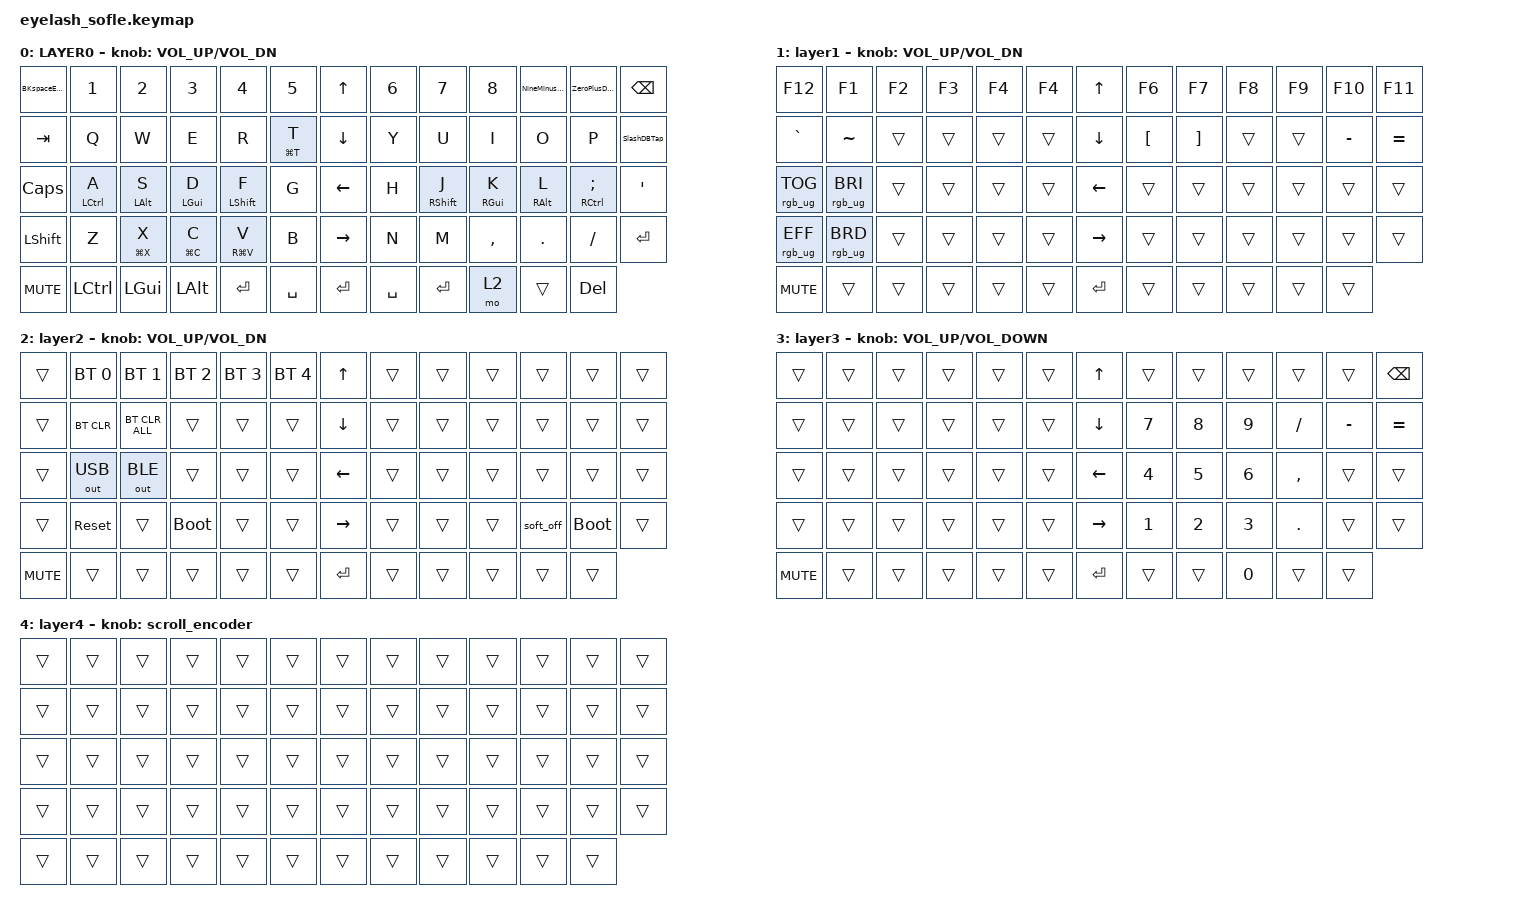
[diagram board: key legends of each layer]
#define ZMK_POINTING_DEFAULT_MOVE_VAL 1200  // 600
#define ZMK_POINTING_DEFAULT_SCRL_VAL 25   // 10

#include <input/processors.dtsi>
#include <zephyr/dt-bindings/input/input-event-codes.h>
#include <behaviors.dtsi>
#include <dt-bindings/zmk/bt.h>
#include <dt-bindings/zmk/keys.h>
#include <dt-bindings/zmk/outputs.h>
#include <dt-bindings/zmk/pointing.h>
#include <dt-bindings/zmk/rgb.h>

&mmv_input_listener { input-processors = <&zip_xy_scaler 2 1>; };

&msc_input_listener { input-processors = <&zip_scroll_scaler 2 1>; };

&msc {
    acceleration-exponent = <1>;      // 0
    time-to-max-speed-ms = <100>;       // 300
    delay-ms = <0>;                   // 0
};

&mmv {
    time-to-max-speed-ms = <500>;
    acceleration-exponent = <1>;
    trigger-period-ms = <16>;
};

&soft_off { hold-time-ms = <2000>; };

/ {
    scroll_encoder: scroll_encoder {
        compatible = "zmk,behavior-sensor-rotate";
        #sensor-binding-cells = <0>;
        bindings = <&msc SCRL_DOWN>, <&msc SCRL_UP>;

        tap-ms = <100>;
    };

    longPress: longPress {
        compatible = "zmk,behavior-hold-tap";
        label = "LONGPRESS";
        bindings = <&kp>, <&kp>;

        #binding-cells = <2>;
        tapping-term-ms = <350>;
        flavor = "tap-preferred";
    };

    HMShiftR: HMShiftR {
        compatible = "zmk,behavior-hold-tap";
        label = "HMSHIFTR";
        bindings = <&kp>, <&kp>;

        #binding-cells = <2>;
        tapping-term-ms = <200>;
        hold-while-undecided;
        hold-trigger-key-positions = <56 57 44 31 18 5 4 17 30 55 43 54 53 40 39 41 42 29 28 27 26 13 14 1 0 2 3 16 15>;
        hold-trigger-on-release;
    };

    HMShiftL: HMShiftL {
        compatible = "zmk,behavior-hold-tap";
        label = "HMSHIFTL";
        bindings = <&kp>, <&kp>;

        #binding-cells = <2>;
        tapping-term-ms = <200>;
        hold-while-undecided;
        hold-trigger-on-release;
        hold-trigger-key-positions = <8 9 10 10 11 12 23 24 25 36 37 38 49 50 51 7 8 9 10 20 21 22 23 33 34 35 36 46 47 48 49 60 61 62 63 59>;
    };

    HMR: HMR {
        compatible = "zmk,behavior-hold-tap";
        label = "HMR";
        bindings = <&kp>, <&kp>;

        #binding-cells = <2>;
        tapping-term-ms = <200>;
        hold-while-undecided;
        hold-trigger-key-positions = <56 57 44 31 18 5 4 17 30 55 43 54 53 40 39 41 42 29 28 27 26 13 14 1 0 2 3 16 15>;
        hold-trigger-on-release;
        flavor = "tap-preferred";
    };

    HMLmulti: HMLmulti {
        compatible = "zmk,behavior-hold-tap";
        label = "HMLMULTI";
        bindings = <&kp>, <&kp>;

        #binding-cells = <2>;
        tapping-term-ms = <200>;
        hold-trigger-on-release;
        hold-trigger-key-positions = <8 9 10 10 11 12 23 24 25 36 37 38 49 50 51 7 8 9 10 20 21 22 23 33 34 35 36 46 47 48 49 60 61 62 63 59>;
        flavor = "tap-preferred";
        require-prior-idle-ms = <125>;
    };

    SlashDBTap: SlashDBTap {
        compatible = "zmk,behavior-tap-dance";
        label = "SLASHDBTAP";
        #binding-cells = <0>;
        bindings = <&kp BACKSLASH>, <&kp SLASH>;

        tapping-term-ms = <200>;
    };

    HMRmulti: HMRmulti {
        compatible = "zmk,behavior-hold-tap";
        label = "HMRMULTI";
        bindings = <&kp>, <&kp>;

        #binding-cells = <2>;
        tapping-term-ms = <200>;
        hold-trigger-on-release;
        flavor = "tap-preferred";
        require-prior-idle-ms = <125>;
        hold-trigger-key-positions = <0 1 2 3 4 5 13 14 15 16 17 18 26 27 28 29 30 31 39 40 41 42 43 44 52 53 54 55 56 57>;
    };

    NineMinusDBTap: NineMinusDBTap {
        compatible = "zmk,behavior-tap-dance";
        label = "NINEMINUSDBTAP";
        #binding-cells = <0>;
        bindings = <&kp N9>, <&kp MINUS>;

        tapping-term-ms = <200>;
    };

    BKspaceESCDBTap: BKspaceESCDBTap {
        compatible = "zmk,behavior-tap-dance";
        label = "BKSPACEESCDBTAP";
        #binding-cells = <0>;
        bindings = <&kp BACKSPACE>, <&kp ESC>;

        tapping-term-ms = <200>;
    };

    ZeroPlusDBTap: ZeroPlusDBTap {
        compatible = "zmk,behavior-tap-dance";
        label = "ZEROPLUSDBTAP";
        #binding-cells = <0>;
        bindings = <&kp N0>, <&kp EQUAL>;

        tapping-term-ms = <200>;
    };

    behaviors {
    };

    combos {
        compatible = "zmk,combos";

        softoff {
            bindings = <&soft_off>;
            key-positions = <14 28 40>;
        };

        Layer1 {
            bindings = <&tog 1>;
            key-positions = <31 17>;
            layers = <0 1>;
        };

        Layer3 {
            bindings = <&tog 3>;
            key-positions = <30 31>;
            layers = <0 3>;
        };

        Layer3- {
            bindings = <&tog 3>;
            key-positions = <33 34>;
            layers = <0 3>;
        };
    };

    macros {
        SHIFT_MCLK: SHIFT_MCLK {
            compatible = "zmk,behavior-macro";
            #binding-cells = <0>;
            bindings =
                <&macro_press>,
                <&kp LEFT_SHIFT>,
                <&macro_press>,
                <&mkp MB3>,
                <&macro_pause_for_release>,
                <&macro_release>,
                <&kp LEFT_SHIFT &mkp MB3>;

            label = "SHIFT_MCLK";
        };
    };

    keymap {
        compatible = "zmk,keymap";

        layer0 {
            bindings = <
&BKspaceESCDBTap  &kp N1             &kp N2                &kp N3                &kp N4                  &kp N5                &kp UP_ARROW     &kp N6     &kp N7                   &kp N8                 &NineMinusDBTap        &ZeroPlusDBTap        &kp BACKSPACE
&kp TAB           &kp Q              &kp W                 &kp E                 &kp R                   &longPress LG(T) T    &kp DOWN_ARROW   &kp Y      &kp U                    &kp I                  &kp O                  &kp P                 &SlashDBTap
&kp CAPSLOCK      &HMLmulti LCTRL A  &HMLmulti LEFT_ALT S  &HMLmulti LEFT_GUI D  &HMShiftL LEFT_SHIFT F  &kp G                 &kp LEFT_ARROW   &kp H      &HMShiftR RIGHT_SHIFT J  &HMRmulti RIGHT_GUI K  &HMRmulti RIGHT_ALT L  &HMLmulti RCTRL SEMI  &kp APOS
&kp LSHFT         &kp Z              &longPress LG(X) X    &longPress LG(C) C    &longPress RG(V) V      &kp B                 &kp RIGHT_ARROW  &kp N      &kp M                    &kp COMMA              &kp DOT                &kp FSLH              &kp ENTER
&kp C_MUTE        &kp LCTRL          &kp LEFT_GUI          &kp LALT              &kp RET                 &kp SPACE             &kp ENTER        &kp SPACE  &kp RET                  &mo 2                  &trans                 &kp DELETE
            >;

            sensor-bindings = <&inc_dec_kp C_VOLUME_UP C_VOL_DN>;
            display-name = "LAYER0";
        };

        layer_1 {
            bindings = <
&kp F12          &kp F1           &kp F2  &kp F3  &kp F4  &kp F4    &kp UP_ARROW     &kp F6    &kp F7    &kp F8  &kp F9  &kp F10    &kp F11
&kp GRAVE        &kp TILDE        &trans  &trans  &trans  &trans    &kp DOWN_ARROW   &kp LBKT  &kp RBKT  &trans  &trans  &kp MINUS  &kp EQUAL
&rgb_ug RGB_TOG  &rgb_ug RGB_BRI  &trans  &trans  &trans  &trans    &kp LEFT_ARROW   &trans    &trans    &trans  &trans  &trans     &trans
&rgb_ug RGB_EFF  &rgb_ug RGB_BRD  &trans  &trans  &trans  &trans    &kp RIGHT_ARROW  &trans    &trans    &trans  &trans  &trans     &trans
&kp C_MUTE       &trans           &trans  &trans  &trans  &trans    &kp ENTER        &trans    &trans    &trans  &trans  &trans
            >;

            display-name = "layer1";
            sensor-bindings = <&inc_dec_kp C_VOLUME_UP C_VOL_DN>;
        };

        layer_2 {
            bindings = <
&trans      &bt BT_SEL 0  &bt BT_SEL 1    &bt BT_SEL 2  &bt BT_SEL 3  &bt BT_SEL 4    &kp UP     &trans  &trans  &trans  &trans     &trans       &trans
&trans      &bt BT_CLR    &bt BT_CLR_ALL  &trans        &trans        &trans          &kp DOWN   &trans  &trans  &trans  &trans     &trans       &trans
&trans      &out OUT_USB  &out OUT_BLE    &trans        &trans        &trans          &kp LEFT   &trans  &trans  &trans  &trans     &trans       &trans
&trans      &sys_reset    &trans          &bootloader   &trans        &trans          &kp RIGHT  &trans  &trans  &trans  &soft_off  &bootloader  &trans
&kp C_MUTE  &trans        &trans          &trans        &trans        &trans          &kp RET    &trans  &trans  &trans  &trans     &trans
            >;

            display-name = "layer2";
            sensor-bindings = <&inc_dec_kp C_VOLUME_UP C_VOL_DN>;
        };

        layer_3 {
            bindings = <
&trans      &trans  &trans  &trans  &trans  &trans    &kp UP     &trans  &trans  &trans  &trans      &trans     &kp BSPC
&trans      &trans  &trans  &trans  &trans  &trans    &kp DOWN   &kp N7  &kp N8  &kp N9  &kp SLASH   &kp MINUS  &kp EQUAL
&trans      &trans  &trans  &trans  &trans  &trans    &kp LEFT   &kp N4  &kp N5  &kp N6  &kp COMMA   &trans     &trans
&trans      &trans  &trans  &trans  &trans  &trans    &kp RIGHT  &kp N1  &kp N2  &kp N3  &kp PERIOD  &trans     &trans
&kp C_MUTE  &trans  &trans  &trans  &trans  &trans    &kp RET    &trans  &trans  &kp N0  &trans      &trans
            >;

            display-name = "layer3";
            sensor-bindings = <&inc_dec_kp C_VOLUME_UP C_VOLUME_DOWN>;
        };

        layer_4 {
            bindings = <
&trans  &trans  &trans  &trans  &trans  &trans    &trans  &trans  &trans  &trans  &trans  &trans  &trans
&trans  &trans  &trans  &trans  &trans  &trans    &trans  &trans  &trans  &trans  &trans  &trans  &trans
&trans  &trans  &trans  &trans  &trans  &trans    &trans  &trans  &trans  &trans  &trans  &trans  &trans
&trans  &trans  &trans  &trans  &trans  &trans    &trans  &trans  &trans  &trans  &trans  &trans  &trans
&trans  &trans  &trans  &trans  &trans  &trans    &trans  &trans  &trans  &trans  &trans  &trans
            >;

            display-name = "layer4";
            sensor-bindings = <&scroll_encoder>;
        };
    };

    conditional_layers { compatible = "zmk,conditional-layers"; };
};
